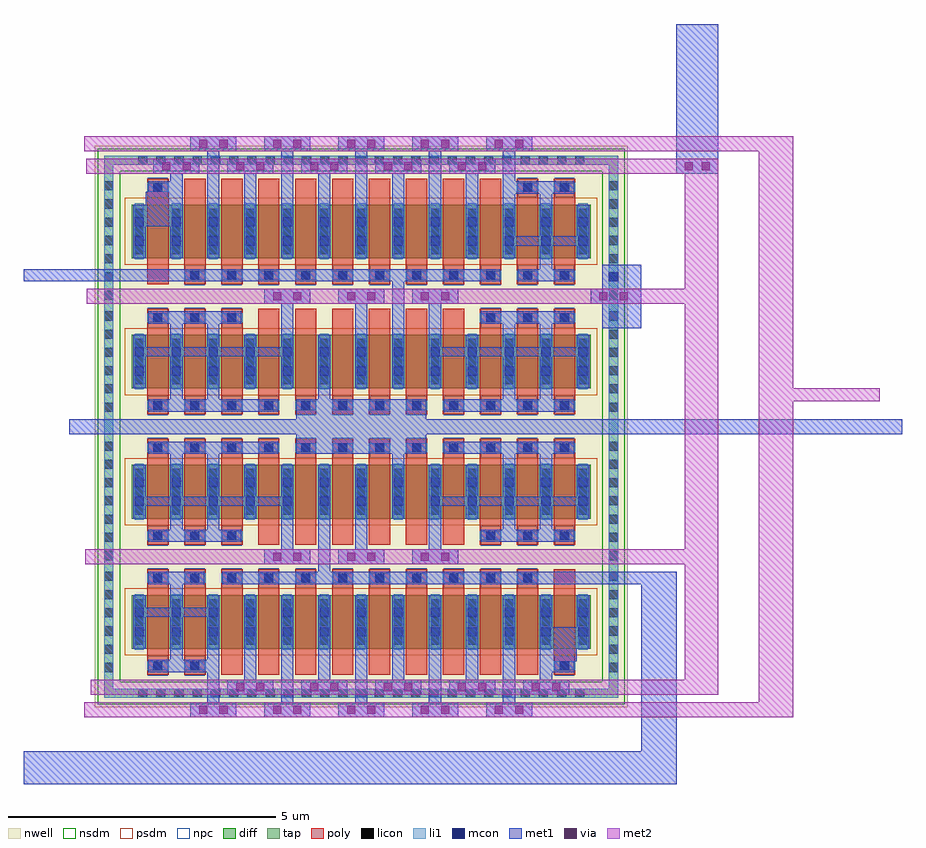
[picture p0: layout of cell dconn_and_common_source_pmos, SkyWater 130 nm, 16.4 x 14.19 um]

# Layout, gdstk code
import gdstk
lib = gdstk.Library(unit=1e-6, precision=1e-09)
def R(c, l, rs):  # rectangles x0, y0, x1, y1
    for r in rs: c.add(gdstk.rectangle(r[:2], r[2:], *l))
def A(c, l, x, y, w, h, nx, ny, dx, dy):  # array of equal rectangles
    R(c, l, [(x+i*dx, y+j*dy, x+i*dx+w, y+j*dy+h) for i in range(nx) for j in range(ny)])
nwell = (64, 20)
diff = (65, 20)
tap = (65, 44)
poly = (66, 20)
licon = (66, 44)
li1 = (67, 20)
mcon = (67, 44)
met1 = (68, 20)
via = (68, 44)
met2 = (69, 20)
nsdm = (93, 44)
psdm = (94, 20)
npc = (95, 20)

dconn_and_common_source_ = lib.new_cell('dconn_and_common_source_pmos')
R(dconn_and_common_source_, nwell, [(3.17,-3.67,13.12,6.81)])
A(dconn_and_common_source_, diff, 3.86, -2.575, 8.57, 1, 1, 4, 0, 2.43)
R(dconn_and_common_source_, tap, [(3.35,-3.49,12.94,-3.32), (3.35,-3.32,3.52,6.46), (12.77,-3.32,12.94,6.46), (3.35,6.46,12.94,6.63)])
A(dconn_and_common_source_, poly, 4.15, -3.06, 0.4, 1.97, 12, 4, 0.69, 2.43)
A(dconn_and_common_source_, licon, 3.98, -3.49, 0.17, 0.17, 25, 2, 0.34, 9.95)
A(dconn_and_common_source_, licon, 3.35, -3.01, 0.17, 0.17, 1, 6, 0, 0.34)
A(dconn_and_common_source_, licon, 12.77, -3.01, 0.17, 0.17, 1, 6, 0, 0.34)
A(dconn_and_common_source_, licon, 3.92, -2.5, 0.17, 0.17, 13, 3, 0.69, 0.34)
A(dconn_and_common_source_, licon, 4.265, -1.34, 0.17, 0.17, 11, 1, 0.69, 0)
A(dconn_and_common_source_, licon, 3.35, -0.92, 0.17, 0.17, 1, 7, 0, 0.34)
A(dconn_and_common_source_, licon, 12.77, -0.92, 0.17, 0.17, 1, 7, 0, 0.34)
A(dconn_and_common_source_, licon, 4.265, -0.55, 0.17, 0.17, 3, 2, 0.69, 4.07)
A(dconn_and_common_source_, licon, 10.475, -0.55, 0.17, 0.17, 3, 2, 0.69, 4.07)
A(dconn_and_common_source_, licon, 3.92, -0.07, 0.17, 0.17, 13, 3, 0.69, 0.34)
A(dconn_and_common_source_, licon, 4.265, 1.09, 0.17, 0.17, 12, 2, 0.69, 0.79)
A(dconn_and_common_source_, licon, 3.35, 1.85, 0.17, 0.17, 1, 6, 0, 0.34)
A(dconn_and_common_source_, licon, 12.77, 1.85, 0.17, 0.17, 1, 6, 0, 0.34)
A(dconn_and_common_source_, licon, 3.92, 2.36, 0.17, 0.17, 13, 3, 0.69, 0.34)
A(dconn_and_common_source_, licon, 3.35, 3.94, 0.17, 0.17, 1, 7, 0, 0.34)
A(dconn_and_common_source_, licon, 12.77, 3.94, 0.17, 0.17, 1, 7, 0, 0.34)
A(dconn_and_common_source_, licon, 4.955, 4.31, 0.17, 0.17, 11, 1, 0.69, 0)
A(dconn_and_common_source_, licon, 3.92, 4.79, 0.17, 0.17, 13, 3, 0.69, 0.34)
R(dconn_and_common_source_, licon, [(4.265,-2.98,4.435,-2.81), (4.955,-2.98,5.125,-2.81), (11.855,-2.98,12.025,-2.81), (4.265,5.95,4.435,6.12), (11.165,5.95,11.335,6.12), (11.855,5.95,12.025,6.12)])
A(dconn_and_common_source_, li1, 3.92, -2.595, 0.17, 1.04, 13, 4, 0.69, 2.43)
A(dconn_and_common_source_, li1, 4.15, -1.34, 0.4, 0.17, 11, 1, 0.69, 0)
A(dconn_and_common_source_, li1, 4.15, -0.55, 0.4, 0.17, 3, 2, 0.69, 4.07)
A(dconn_and_common_source_, li1, 10.36, -0.55, 0.4, 0.17, 3, 2, 0.69, 4.07)
A(dconn_and_common_source_, li1, 4.15, 1.09, 0.4, 0.17, 12, 2, 0.69, 0.79)
A(dconn_and_common_source_, li1, 4.84, 4.31, 0.4, 0.17, 11, 1, 0.69, 0)
R(dconn_and_common_source_, li1, [(3.35,-3.49,12.94,-3.32), (3.35,-3.32,3.52,6.46), (12.77,-3.32,12.94,6.46), (4.15,-2.98,4.55,-2.81), (4.84,-2.98,5.24,-2.81), (11.74,-2.98,12.14,-2.81), (4.15,5.95,4.55,6.12), (11.05,5.95,11.45,6.12), (11.74,5.95,12.14,6.12), (3.35,6.46,12.94,6.63)])
A(dconn_and_common_source_, mcon, 3.92, -2.34, 0.17, 0.17, 13, 2, 0.69, 0.36)
A(dconn_and_common_source_, mcon, 4.265, -1.34, 0.17, 0.17, 11, 1, 0.69, 0)
A(dconn_and_common_source_, mcon, 4.265, -0.55, 0.17, 0.17, 3, 2, 0.69, 4.07)
A(dconn_and_common_source_, mcon, 10.475, -0.55, 0.17, 0.17, 3, 2, 0.69, 4.07)
A(dconn_and_common_source_, mcon, 3.92, 0.09, 0.17, 0.17, 13, 2, 0.69, 0.36)
A(dconn_and_common_source_, mcon, 4.265, 1.09, 0.17, 0.17, 12, 2, 0.69, 0.79)
A(dconn_and_common_source_, mcon, 3.92, 2.52, 0.17, 0.17, 13, 2, 0.69, 0.36)
A(dconn_and_common_source_, mcon, 4.955, 4.31, 0.17, 0.17, 11, 1, 0.69, 0)
A(dconn_and_common_source_, mcon, 3.92, 4.95, 0.17, 0.17, 13, 2, 0.69, 0.36)
R(dconn_and_common_source_, mcon, [(4.265,-2.98,4.435,-2.81), (4.955,-2.98,5.125,-2.81), (11.855,-2.98,12.025,-2.81), (12.77,4.28,12.94,4.45), (4.265,5.95,4.435,6.12), (11.165,5.95,11.335,6.12), (11.855,5.95,12.025,6.12)])
A(dconn_and_common_source_, met1, 4.955, -3.85, 0.86, 0.28, 5, 2, 1.38, 10.56)
A(dconn_and_common_source_, met1, 6.65, -3.57, 0.23, 1.995, 4, 1, 1.38, 0)
A(dconn_and_common_source_, met1, 5.645, -3.43, 0.86, 0.28, 5, 1, 1.38, 0)
A(dconn_and_common_source_, met1, 5.96, -3.15, 0.23, 1.575, 4, 2, 1.38, 7.865)
A(dconn_and_common_source_, met1, 6.335, -1, 0.86, 0.28, 3, 2, 1.38, 4.86)
A(dconn_and_common_source_, met1, 5.27, 4.715, 0.23, 1.995, 4, 1, 1.38, 0)
A(dconn_and_common_source_, met1, 4.265, 6.29, 0.86, 0.28, 5, 1, 1.38, 0)
R(dconn_and_common_source_, met1, [(1.845,-5.1,14.035,-4.49), (13.375,-4.49,14.035,-1.37), (5.27,-3.57,5.5,-3.01), (11.48,-3.15,11.71,-3.01), (4.17,-3.01,5.5,-2.78), (11.48,-3.01,12.12,-2.81), (11.48,-2.81,12.17,-2.575), (4.58,-2.78,4.81,-1.98), (5.27,-2.78,5.5,-1.98), (3.89,-2.575,4.12,-1.98), (11.48,-2.575,12.4,-2.17), (11.48,-2.17,11.71,-1.575), (12.17,-2.17,12.4,-1.575), (3.89,-1.98,5.5,-1.81), (3.89,-1.81,4.12,-1.575), (4.58,-1.81,4.81,-1.37), (5.27,-1.81,5.5,-1.575), (4.17,-1.37,5.22,-1.14), (5.55,-1.37,14.035,-1.14), (7.34,-1.14,7.57,0.855), (6.65,-0.72,6.88,0.09), (8.03,-0.72,8.26,0.855), (9.41,-0.72,9.64,0.09), (4.17,-0.58,5.91,-0.35), (10.38,-0.58,12.12,-0.35), (4.58,-0.35,4.81,0.09), (5.27,-0.35,5.5,0.09), (10.79,-0.35,11.02,0.09), (11.48,-0.35,11.71,0.09), (3.89,-0.145,4.12,0.09), (5.96,-0.145,6.19,0.09), (8.72,-0.145,8.95,1.06), (10.1,-0.145,10.33,0.09), (12.17,-0.145,12.4,0.09), (3.89,0.09,6.88,0.26), (9.41,0.09,12.4,0.26), (3.89,0.26,4.12,0.855), (4.58,0.26,4.81,1.06), (5.27,0.26,5.5,1.06), (5.96,0.26,6.19,0.855), (6.65,0.26,6.88,0.855), (9.41,0.26,9.64,0.855), (10.1,0.26,10.33,0.855), (10.79,0.26,11.02,1.06), (11.48,0.26,11.71,1.06), (12.17,0.26,12.4,0.855), (4.17,1.06,6.6,1.29), (6.93,1.06,9.36,1.43), (9.69,1.06,12.12,1.29), (2.7,1.43,18.245,1.71), (6.93,1.71,9.36,2.08), (4.17,1.85,6.6,2.08), (9.69,1.85,12.12,2.08), (4.58,2.08,4.81,2.88), (5.27,2.08,5.5,2.88), (7.34,2.08,7.57,3.285), (10.79,2.08,11.02,2.88), (11.48,2.08,11.71,2.88), (3.89,2.285,4.12,2.88), (5.96,2.285,6.19,2.88), (6.65,2.285,6.88,2.88), (8.03,2.285,8.26,3.86), (8.72,2.285,8.95,4.28), (9.41,2.285,9.64,2.88), (10.1,2.285,10.33,2.88), (12.17,2.285,12.4,2.88), (3.89,2.88,6.88,3.05), (9.41,2.88,12.4,3.05), (3.89,3.05,4.12,3.285), (4.58,3.05,4.81,3.49), (5.27,3.05,5.5,3.49), (5.96,3.05,6.19,3.285), (6.65,3.05,6.88,3.86), (9.41,3.05,9.64,3.86), (10.1,3.05,10.33,3.285), (10.79,3.05,11.02,3.49), (11.48,3.05,11.71,3.49), (12.17,3.05,12.4,3.285), (12.645,3.41,13.37,3.86), (4.17,3.49,5.91,3.72), (10.38,3.49,12.12,3.72), (12.425,3.86,13.37,4.14), (12.645,4.14,13.37,4.59), (1.845,4.28,10.74,4.51), (11.07,4.28,12.12,4.51), (11.48,4.51,11.71,4.95), (3.89,4.715,4.12,5.31), (4.58,4.715,4.81,5.31), (10.79,4.715,11.02,4.95), (12.17,4.715,12.4,4.95), (10.79,4.95,12.4,5.12), (10.79,5.12,11.02,5.92), (11.48,5.12,11.71,5.92), (12.17,5.12,12.4,5.715), (3.89,5.31,4.81,5.715), (4.12,5.715,4.81,5.95), (10.79,5.92,12.12,6.15), (4.17,5.95,4.81,6.15), (4.58,6.15,4.81,6.29), (10.79,6.15,11.02,6.71), (14.025,6.29,14.805,9.085)])
R(dconn_and_common_source_, via, [(5.12,-3.785,5.27,-3.635), (5.5,-3.785,5.65,-3.635), (6.5,-3.785,6.65,-3.635), (6.88,-3.785,7.03,-3.635), (7.88,-3.785,8.03,-3.635), (8.26,-3.785,8.41,-3.635), (9.26,-3.785,9.41,-3.635), (9.64,-3.785,9.79,-3.635), (10.64,-3.785,10.79,-3.635), (11.02,-3.785,11.17,-3.635), (5.81,-3.365,5.96,-3.215), (6.19,-3.365,6.34,-3.215), (7.19,-3.365,7.34,-3.215), (7.57,-3.365,7.72,-3.215), (8.57,-3.365,8.72,-3.215), (8.95,-3.365,9.1,-3.215), (9.95,-3.365,10.1,-3.215), (10.33,-3.365,10.48,-3.215), (11.33,-3.365,11.48,-3.215), (11.71,-3.365,11.86,-3.215), (6.5,-0.935,6.65,-0.785), (6.88,-0.935,7.03,-0.785), (7.88,-0.935,8.03,-0.785), (8.26,-0.935,8.41,-0.785), (9.26,-0.935,9.41,-0.785), (9.64,-0.935,9.79,-0.785), (6.5,3.925,6.65,4.075), (6.88,3.925,7.03,4.075), (7.88,3.925,8.03,4.075), (8.26,3.925,8.41,4.075), (9.26,3.925,9.41,4.075), (9.64,3.925,9.79,4.075), (12.59,3.925,12.74,4.075), (12.97,3.925,13.12,4.075), (4.43,6.355,4.58,6.505), (4.81,6.355,4.96,6.505), (5.81,6.355,5.96,6.505), (6.19,6.355,6.34,6.505), (7.19,6.355,7.34,6.505), (7.57,6.355,7.72,6.505), (8.57,6.355,8.72,6.505), (8.95,6.355,9.1,6.505), (9.95,6.355,10.1,6.505), (10.33,6.355,10.48,6.505), (14.18,6.355,14.33,6.505), (14.5,6.355,14.65,6.505), (5.12,6.775,5.27,6.925), (5.5,6.775,5.65,6.925), (6.5,6.775,6.65,6.925), (6.88,6.775,7.03,6.925), (7.88,6.775,8.03,6.925), (8.26,6.775,8.41,6.925), (9.26,6.775,9.41,6.925), (9.64,6.775,9.79,6.925), (10.64,6.775,10.79,6.925), (11.02,6.775,11.17,6.925)])
R(dconn_and_common_source_, met2, [(2.975,-3.85,16.205,-3.57), (15.565,-3.57,16.205,2.04), (3.1,-3.43,14.805,-3.15), (14.18,-3.15,14.805,-1), (2.995,-1,14.805,-0.72), (14.18,-0.72,14.805,3.86), (15.565,2.04,17.825,2.29), (15.565,2.29,16.205,6.71), (3.025,3.86,14.805,4.14), (14.18,4.14,14.805,6.29), (3.015,6.29,14.805,6.57), (2.975,6.71,16.205,6.99)])
R(dconn_and_common_source_, nsdm, [(3.225,-3.615,13.065,-3.195), (3.225,-3.195,3.645,6.335), (12.645,-3.195,13.065,6.335), (3.225,6.335,13.065,6.755)])
A(dconn_and_common_source_, psdm, 3.735, -2.7, 8.82, 1.25, 1, 4, 0, 2.43)
A(dconn_and_common_source_, npc, 4.165, -1.44, 0.37, 0.37, 11, 1, 0.69, 0)
A(dconn_and_common_source_, npc, 4.165, -0.65, 0.37, 0.37, 3, 2, 0.69, 4.07)
A(dconn_and_common_source_, npc, 10.375, -0.65, 0.37, 0.37, 3, 2, 0.69, 4.07)
A(dconn_and_common_source_, npc, 4.165, 0.99, 0.37, 0.37, 12, 2, 0.69, 0.79)
A(dconn_and_common_source_, npc, 4.855, 4.21, 0.37, 0.37, 11, 1, 0.69, 0)
R(dconn_and_common_source_, npc, [(4.165,-3.08,4.535,-2.71), (4.855,-3.08,5.225,-2.71), (11.755,-3.08,12.125,-2.71), (4.165,5.85,4.535,6.22), (11.065,5.85,11.435,6.22), (11.755,5.85,12.125,6.22)])

lib.write_gds('dconn_and_common_source_pmos.gds')
